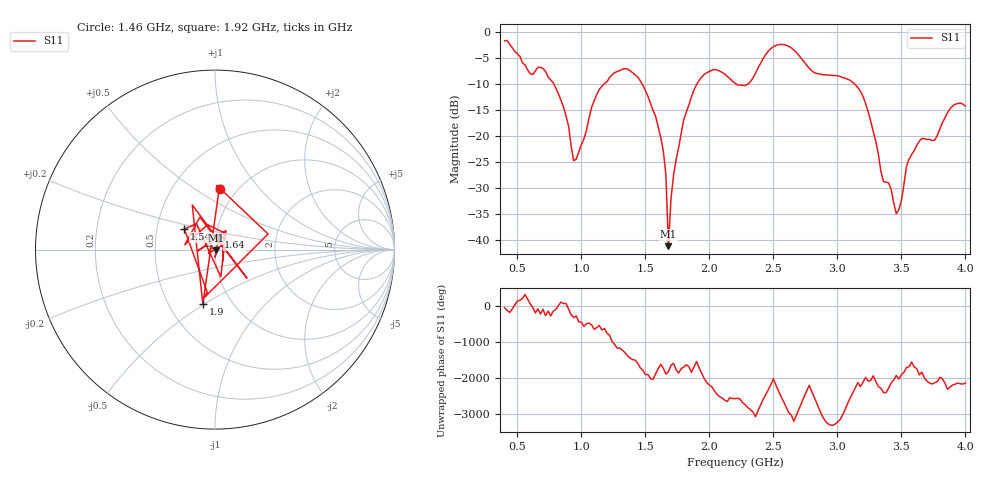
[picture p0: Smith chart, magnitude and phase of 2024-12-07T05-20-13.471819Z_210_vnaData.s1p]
!Created with skrf (http://scikit-rf.org).
# Hz S RI R 50.0
!freq ReS11 ImS11
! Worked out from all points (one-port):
!   181 points, 400 MHz to 4 GHz, reference 50 ohm
!   lowest |S11| = -41.2 dB at 1.68 GHz (marker M1), VSWR 1.02, Z = 50.8 - j0.292 ohm
!   |S11| at or under -10 dB: 784.7 MHz to 1.176 GHz (391.2 MHz wide, 39.9 % of centre); 1.475 GHz to 1.903 GHz (427.8 MHz wide, 25.3 % of centre); 3.135 GHz to end of sweep (the widest 3 of 4)
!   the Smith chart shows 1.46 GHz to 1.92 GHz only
!   S11 on the Smith chart (normalised r, x): 1.46 GHz: 0.84, +0.64; 1.54 GHz: 0.69, +0.17; 1.64 GHz: 1.03, +0.14; 1.9 GHz: 0.73, -0.49; 1.92 GHz: 0.82, +0.64
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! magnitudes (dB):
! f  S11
! 400 MHz  -1.7
! 600 MHz  -8.0
! 720 MHz  -7.6
! 860 MHz  -14.4
! 940 MHz  -24.8
! 1.14 GHz  -11.0
! 1.3 GHz  -7.4
! 1.46 GHz  -9.4
! 1.54 GHz  -13.7
! 1.64 GHz  -22.9
! 1.66 GHz  -27.4
! 1.68 GHz  -41.2
! 1.7 GHz  -32.1
! 1.76 GHz  -22.2
! 1.9 GHz  -10.1
! 1.92 GHz  -9.3
! 2.2 GHz  -9.8
! 2.32 GHz  -9.6
! 2.5 GHz  -2.8
! 2.66 GHz  -3.4
! 3.1 GHz  -9.3
! 3.22 GHz  -13.7
! 3.36 GHz  -28.8
! 3.46 GHz  -34.9
! 3.56 GHz  -24.4
! 3.76 GHz  -20.8
! 3.9 GHz  -14.2
! 4 GHz  -14.3
